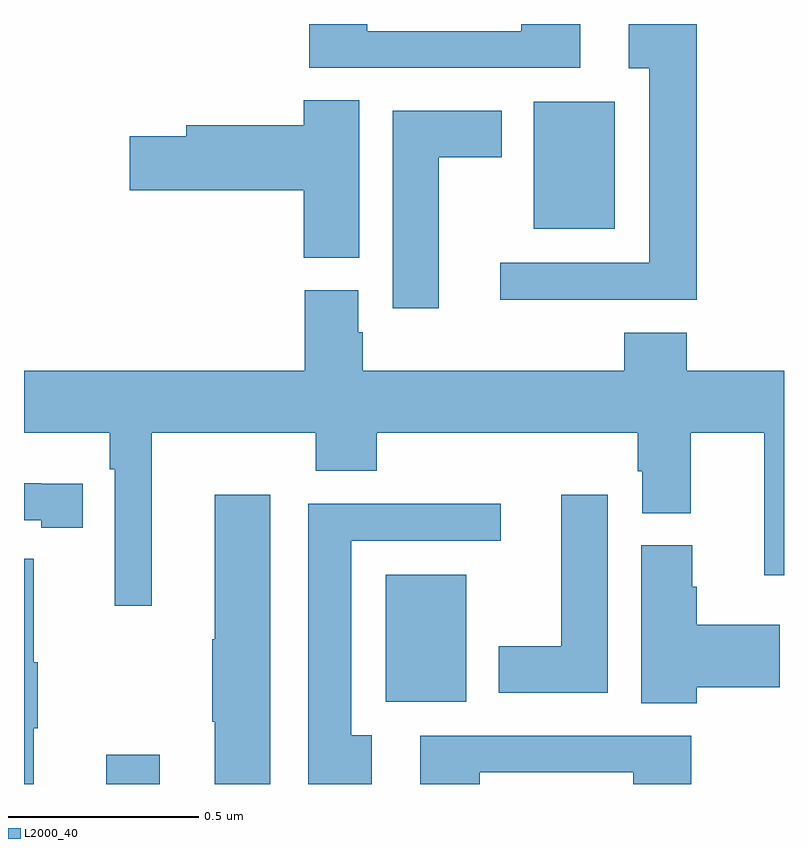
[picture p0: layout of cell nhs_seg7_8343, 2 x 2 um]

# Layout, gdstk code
import gdstk
lib = gdstk.Library(unit=1e-6, precision=1e-09)
def R(c, l, rs):  # rectangles x0, y0, x1, y1
    for r in rs: c.add(gdstk.rectangle(r[:2], r[2:], *l))
def P(c, l, *ps):  # polygons
    for p in ps: c.add(gdstk.Polygon(p, *l))
L2000_40 = (2000, 40)

nhs_seg7_8343 = lib.new_cell('nhs_seg7_8343')
R(nhs_seg7_8343, L2000_40, [(223.217,1025,223.357,1025.077), (223.952,1025.216,224.164,1025.551), (224.342,1026.461,224.554,1026.796)])
P(nhs_seg7_8343, L2000_40, [(224.771,1027),(224.591,1027),(224.591,1026.884),(224.645,1026.884),(224.645,1026.372),(224.253,1026.372),(224.253,1026.275),(224.771,1026.275)],
  [(224.464,1027),(224.308,1027),(224.308,1026.981),(223.903,1026.981),(223.903,1027),(223.751,1027),(223.751,1026.885),(224.464,1026.885)],
  [(223.882,1026.8),(223.736,1026.8),(223.736,1026.734),(223.427,1026.734),(223.427,1026.704),(223.278,1026.704),(223.278,1026.562),(223.736,1026.562),(223.736,1026.385),(223.882,1026.385)],
  [(224.092,1026.65),(224.257,1026.65),(224.257,1026.772),(223.97,1026.772),(223.97,1026.252),(224.092,1026.252)],
  [(223.336,1025.924),(223.768,1025.924),(223.768,1025.825),(223.928,1025.825),(223.928,1025.924),(224.615,1025.924),(224.615,1025.823),(224.627,1025.823),(224.627,1025.713),(224.755,1025.713),(224.755,1025.924),(224.948,1025.924),(224.948,1025.55),(225,1025.55),(225,1026.088),(224.744,1026.088),(224.744,1026.187),(224.579,1026.187),(224.579,1026.088),(223.892,1026.088),(223.892,1026.189),(223.879,1026.189),(223.879,1026.3),(223.739,1026.3),(223.739,1026.088),(223,1026.088),(223,1025.924),(223.226,1025.924),(223.226,1025.828),(223.239,1025.828),(223.239,1025.469),(223.336,1025.469)],
  [(223.154,1025.79),(223.046,1025.79),(223.046,1025.791),(223,1025.791),(223,1025.694),(223.046,1025.694),(223.046,1025.674),(223.154,1025.674)],
  [(223.648,1025.761),(223.502,1025.761),(223.502,1025.381),(223.495,1025.381),(223.495,1025.164),(223.502,1025.164),(223.502,1025),(223.648,1025)],
  [(224.536,1025.761),(224.414,1025.761),(224.414,1025.362),(224.249,1025.362),(224.249,1025.24),(224.536,1025.24)],
  [(223.915,1025.128),(223.861,1025.128),(223.861,1025.64),(224.254,1025.64),(224.254,1025.738),(223.748,1025.738),(223.748,1025),(223.915,1025)],
  [(224.771,1025.254),(224.989,1025.254),(224.989,1025.419),(224.771,1025.419),(224.771,1025.519),(224.758,1025.519),(224.758,1025.628),(224.624,1025.628),(224.624,1025.212),(224.771,1025.212)],
  [(223.025,1025.147),(223.036,1025.147),(223.036,1025.321),(223.025,1025.321),(223.025,1025.593),(223,1025.593),(223,1025),(223.025,1025)],
  [(224.199,1025.031),(224.603,1025.031),(224.603,1025),(224.756,1025),(224.756,1025.127),(224.043,1025.127),(224.043,1025),(224.199,1025)])

lib.write_gds('nhs_seg7_8343.gds')
